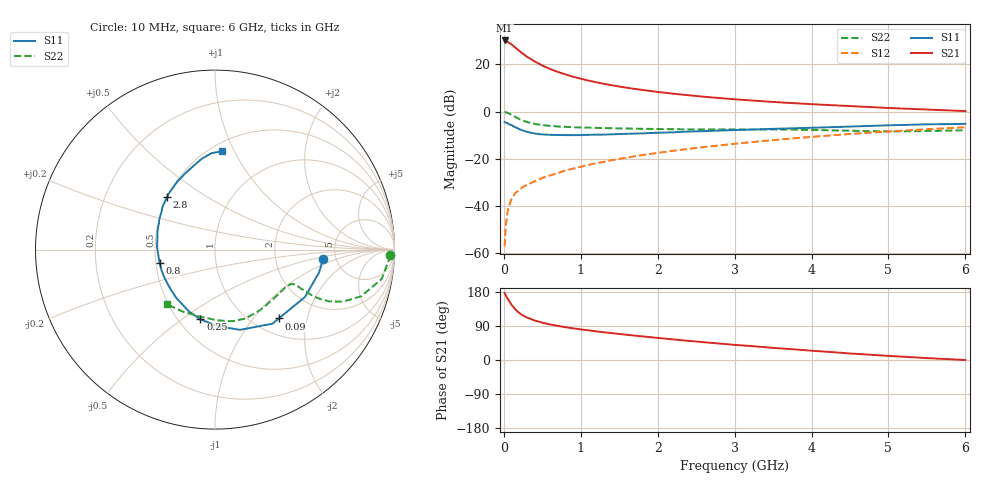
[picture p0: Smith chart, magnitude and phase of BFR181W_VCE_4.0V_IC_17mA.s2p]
! Infineon Technologies  Discrete & RF Semiconductors
! BFR181W
! VCE =  4.0 V,  IC =  17 mA
! Common Emitter S-Parameters:  Jan 2017
# GHz  S  MA  R  50
!  f  S11  S21  S12  S22
! GHz  MAG  ANG  MAG  ANG  MAG  ANG  MAG  ANG
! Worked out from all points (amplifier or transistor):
!   77 points, 10 MHz to 6 GHz, reference 50 ohm
!   highest |S21| = 30.2 dB at 10 MHz (marker M1)
!   |S21| within 3 dB of that: start of sweep to 150.4 MHz
!   unconditionally stable (mu >= 1): 651.6 MHz to 2.575 GHz
!   at 130 MHz: K = 0.40, MSG = 31.6 dB, |S12| = -35.4 dB
!   at 2.2 GHz: K = 1.04, MAG = 10.9 dB, |S12| = -16.6 dB
!   at 6 GHz: K = 0.83, MSG = 3.4 dB, |S12| = -6.6 dB
!   S11 on the Smith chart (normalised r, x): 10 MHz: 3.96, -0.63; 90 MHz: 1.29, -1.37; 250 MHz: 0.64, -0.59; 800 MHz: 0.52, -0.09; 2.8 GHz: 0.50, +0.34; 6 GHz: 0.57, +0.89
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0.01  0.605 -4.8  32.29 176.6  0.0014 93.2  0.9777 -1.8
0.02  0.5935 -12.5  32.03 172.1  0.0028 92.2  0.9689 -3.8
0.05  0.5664 -27.8  30.43 161.4  0.0077 75.9  0.9429 -10.0
0.09  0.5232 -47.1  27.31 148.9  0.0127 72.3  0.8717 -16.0
0.1  0.5224 -52.2  26.76 145.4  0.014 71.8  0.8556 -17.7
0.15  0.4682 -72.7  22.89 133.5  0.0188 65.1  0.769 -22.2
0.2  0.4258 -88.5  19.45 124.2  0.0217 64.1  0.6972 -24.4
0.25  0.3966 -101.9  16.79 117.3  0.0254 62.3  0.643 -25.2
0.3  0.3734 -113.1  14.61 112.0  0.0278 61.7  0.601 -25.3
0.4  0.3442 -129.2  11.58 104.1  0.0332 63.9  0.5489 -24.7
0.5  0.3282 -141.7  9.482 98.5  0.0391 66.0  0.5179 -24.2
0.6  0.322 -151.7  8.042 93.9  0.0443 66.9  0.498 -23.8
0.8  0.3175 -166.0  6.155 86.6  0.0564 70.1  0.4748 -23.9
0.9  0.3167 -172.0  5.496 83.5  0.0618 70.8  0.4669 -24.3
1.1  0.3222 178.3  4.556 78.3  0.0744 71.8  0.4567 -25.7
1.5  0.3344 163.8  3.403 68.8  0.0994 72.9  0.4407 -30.0
2.1  0.3596 147.4  2.506 56.4  0.1402 71.5  0.4255 -39.7
2.8  0.3963 132.6  1.939 43.4  0.1918 68.6  0.4204 -53.2
3.1  0.4106 126.9  1.78 38.5  0.2158 66.6  0.4182 -59.0
4.1  0.4596 110.2  1.411 23.1  0.2996 59.1  0.4059 -78.9
5.1  0.517 96.8  1.176 9.7  0.3878 49.6  0.3814 -105.8
6  0.5487 86.2  1.027 -0.1  0.4663 40.0  0.405 -131.1
